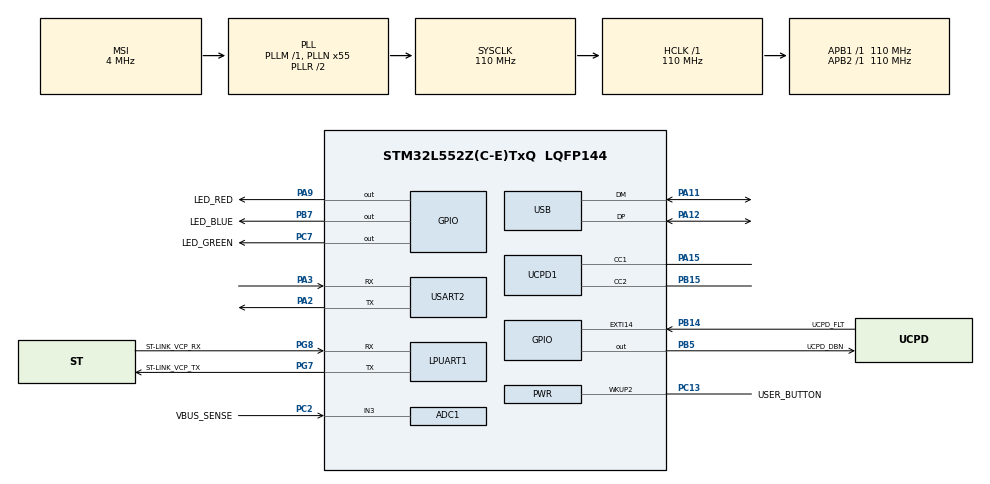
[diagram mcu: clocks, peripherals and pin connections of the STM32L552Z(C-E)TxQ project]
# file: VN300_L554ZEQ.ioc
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ADC1.Channel-0\#ChannelRegularConversion=ADC_CHANNEL_3
ADC1.NbrOfConversionFlag=1
ADC1.OffsetNumber-0\#ChannelRegularConversion=ADC_OFFSET_NONE
ADC1.Rank-0\#ChannelRegularConversion=1
ADC1.SamplingTime-0\#ChannelRegularConversion=ADC_SAMPLETIME_2CYCLES_5
ADC1.master=1
Mcu.Family=STM32L5
Mcu.Name=STM32L552Z(C-E)TxQ
Mcu.Package=LQFP144
Mcu.TrustZone=disable
NVIC.PriorityGroup=NVIC_PRIORITYGROUP_3
PA11.Mode=Device
PA11.Signal=USB_DM
PA12.Mode=Device
PA12.Signal=USB_DP
PA13\ (JTMS/SWDIO).Mode=Trace_Asynchronous_SW
PA13\ (JTMS/SWDIO).Signal=DEBUG_JTMS-SWDIO
PA14\ (JTCK/SWCLK).Mode=Trace_Asynchronous_SW
PA14\ (JTCK/SWCLK).Signal=DEBUG_JTCK-SWCLK
PA15\ (JTDI).Mode=Source_AllSignals
PA15\ (JTDI).Signal=UCPD1_CC1
PA2.Mode=Asynchronous
PA2.Signal=USART2_TX
PA3.Mode=Asynchronous
PA3.Signal=USART2_RX
PA9.GPIO_Label=LED_RED
PA9.Signal=GPIO_Output
PB14.GPIO_Label=UCPD_FLT
PB14.Signal=GPXTI14
PB15.Mode=Source_AllSignals
PB15.Signal=UCPD1_CC2
PB3\ (JTDO/TRACESWO).Mode=Trace_Asynchronous_SW
PB3\ (JTDO/TRACESWO).Signal=DEBUG_JTDO-SWO
PB5.GPIO_Label=UCPD_DBN
PB5.Signal=GPIO_Output
PB7.GPIO_Label=LED_BLUE
PB7.Signal=GPIO_Output
PC13.GPIO_Label=USER_BUTTON
PC13.Mode=WakeUp1
PC13.Signal=PWR_WKUP2
PC14-OSC32_IN\ (PC14).Mode=LSE-External-Oscillator
PC14-OSC32_IN\ (PC14).Signal=RCC_OSC32_IN
PC15-OSC32_OUT\ (PC15).Mode=LSE-External-Oscillator
PC15-OSC32_OUT\ (PC15).Signal=RCC_OSC32_OUT
PC2.GPIO_Label=VBUS_SENSE
PC2.Signal=ADCx_IN3
PC7.GPIO_Label=LED_GREEN
PC7.Signal=GPIO_Output
PG7.GPIO_Label=ST-LINK_VCP_TX
PG7.Mode=Asynchronous
PG7.Signal=LPUART1_TX
PG8.GPIO_Label=ST-LINK_VCP_RX
PG8.Mode=Asynchronous
PG8.Signal=LPUART1_RX
ProjectManager.HeapSize=0x200
ProjectManager.StackSize=0x400
ProjectManager.TargetToolchain=STM32CubeIDE
RCC.ADCCLockSelection=RCC_ADCCLKSOURCE_SYSCLK
RCC.ADCFreq_Value=110000000
RCC.AHBFreq_Value=110000000
RCC.APB1Freq_Value=110000000
RCC.APB1TimFreq_Value=110000000
RCC.APB2Freq_Value=110000000
RCC.APB2TimFreq_Value=110000000
RCC.CK48CLockSelection=RCC_USBCLKSOURCE_HSI48
RCC.CortexFreq_Value=110000000
RCC.HCLKFreq_Value=110000000
RCC.HSE_VALUE=8000000
RCC.HSI48_VALUE=48000000
RCC.HSI_VALUE=16000000
RCC.MSI_VALUE=4000000
RCC.PLLN=55
RCC.PLLSAI1N=24
RCC.RTCClockSelection=RCC_RTCCLKSOURCE_LSE
RCC.SYSCLKFreq_VALUE=110000000
RCC.SYSCLKSource=RCC_SYSCLKSOURCE_PLLCLK
RCC.USBFreq_Value=48000000
RCC.VCOOutputFreq_Value=220000000
SH.ADCx_IN3.0=ADC1_IN3,IN3-Single-Ended
USART2.VirtualMode-Asynchronous=VM_ASYNC
VP_ICACHE_VS_ICACHE.Mode=DirectMappedCache
VP_PWR_VS_DBSignals.Mode=DisableDeadBatterySignals
VP_RTC_VS_RTC_Activate.Mode=RTC_Enabled
board=NUCLEO-L552ZE-Q

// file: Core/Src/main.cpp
/* USER CODE BEGIN Header */
/**
  ******************************************************************************
  * @file           : main.c
  * @brief          : Main program body
  ******************************************************************************
  * @attention
  *
  * Copyright (c) 2022 STMicroelectronics.
  * All rights reserved.
  *
  * This software is licensed under terms that can be found in the LICENSE file
  * in the root directory of this software component.
  * If no LICENSE file comes with this software, it is provided AS-IS.
  *
  ******************************************************************************
  */
/* USER CODE END Header */
#include "main.h"

/* USER CODE BEGIN Includes */
#include "LOS_D_vn300.hpp"
#include <string.h>
#include <stdio.h>
/* USER CODE END Includes */

/* USER CODE BEGIN PD */
#define MSG_LEN 2000
/* USER CODE END PD */

ADC_HandleTypeDef hadc1;

UART_HandleTypeDef hlpuart1;
UART_HandleTypeDef huart2;

RTC_HandleTypeDef hrtc;

PCD_HandleTypeDef hpcd_USB_FS;

void SystemClock_Config(void);
static void MX_GPIO_Init(void);
static void MX_ADC1_Init(void);
static void MX_LPUART1_UART_Init(void);
static void MX_RTC_Init(void);
static void MX_UCPD1_Init(void);
static void MX_USB_PCD_Init(void);
static void MX_USART2_UART_Init(void);
static void MX_ICACHE_Init(void);

int main(void)
{

  /* MCU Configuration--------------------------------------------------------*/

  /* Reset of all peripherals, Initializes the Flash interface and the Systick. */
  HAL_Init();

  /* Configure the system clock */
  SystemClock_Config();

  /* Initialize all configured peripherals */
  MX_GPIO_Init();
  MX_ADC1_Init();
  MX_LPUART1_UART_Init();
  MX_RTC_Init();
  MX_UCPD1_Init();
  MX_USB_PCD_Init();
  MX_USART2_UART_Init();
  MX_ICACHE_Init();
  /* USER CODE BEGIN 2 */
  const char* serial_cmd = "$VNWRG,06,0*XX";
  const char* start_str = "START\r\n";
  uint16_t j = 0;
  char buffer[256];
  memset(buffer, 0, 256);
  char msg[MSG_LEN];
  memset(msg, 0, MSG_LEN);

  /* Set serial port */
  HAL_UART_Transmit(&huart2, (uint8_t*)serial_cmd, strlen(serial_cmd), 1000);
  HAL_UART_Transmit(&hlpuart1, (uint8_t*)start_str, strlen(start_str), 100);

  /* Driver Init */
  static Position *vn300obj = &VN300::getInstance();

  requestData_t requestData = {true, true};
  GPSData_t gpsData;
  IMUData_t imuData;

  PositionData_t positionData;
  positionData.req_data = requestData;
  positionData.gps_data = gpsData;
  positionData.imu_data = imuData;
  /* USER CODE END 2 */

  /* Infinite loop */
  /* USER CODE BEGIN WHILE */
  while (1)
  {
	vn300obj->GetResult(positionData);

	/* DEBUG START */
	j = 0;
	j += sprintf(msg + j, "(Pitch, Row, Yaw)=(%x, %x, %x)\r\n", positionData.imu_data.pitch, positionData.imu_data.roll, positionData.imu_data.yaw);
	HAL_UART_Transmit(&hlpuart1, (uint8_t*)msg, MSG_LEN, 100);
	/* DEBUG END */

	HAL_Delay(1000);
    /* USER CODE END WHILE */

  }
}

void SystemClock_Config(void)
{
  RCC_OscInitTypeDef RCC_OscInitStruct = {0};
  RCC_ClkInitTypeDef RCC_ClkInitStruct = {0};

  /** Configure the main internal regulator output voltage
  */
  if (HAL_PWREx_ControlVoltageScaling(PWR_REGULATOR_VOLTAGE_SCALE0) != HAL_OK)
  {
    Error_Handler();
  }

  /** Configure LSE Drive Capability
  */
  HAL_PWR_EnableBkUpAccess();
  __HAL_RCC_LSEDRIVE_CONFIG(RCC_LSEDRIVE_LOW);

  /** Initializes the RCC Oscillators according to the specified parameters
  * in the RCC_OscInitTypeDef structure.
  */
  RCC_OscInitStruct.OscillatorType = RCC_OSCILLATORTYPE_HSI48|RCC_OSCILLATORTYPE_LSE
                              |RCC_OSCILLATORTYPE_MSI;
  RCC_OscInitStruct.LSEState = RCC_LSE_ON;
  RCC_OscInitStruct.HSI48State = RCC_HSI48_ON;
  RCC_OscInitStruct.MSIState = RCC_MSI_ON;
  RCC_OscInitStruct.MSICalibrationValue = RCC_MSICALIBRATION_DEFAULT;
  RCC_OscInitStruct.MSIClockRange = RCC_MSIRANGE_6;
  RCC_OscInitStruct.PLL.PLLState = RCC_PLL_ON;
  RCC_OscInitStruct.PLL.PLLSource = RCC_PLLSOURCE_MSI;
  RCC_OscInitStruct.PLL.PLLM = 1;
  RCC_OscInitStruct.PLL.PLLN = 55;
  RCC_OscInitStruct.PLL.PLLP = RCC_PLLP_DIV7;
  RCC_OscInitStruct.PLL.PLLQ = RCC_PLLQ_DIV2;
  RCC_OscInitStruct.PLL.PLLR = RCC_PLLR_DIV2;
  if (HAL_RCC_OscConfig(&RCC_OscInitStruct) != HAL_OK)
  {
    Error_Handler();
  }

  /** Initializes the CPU, AHB and APB buses clocks
  */
  RCC_ClkInitStruct.ClockType = RCC_CLOCKTYPE_HCLK|RCC_CLOCKTYPE_SYSCLK
                              |RCC_CLOCKTYPE_PCLK1|RCC_CLOCKTYPE_PCLK2;
  RCC_ClkInitStruct.SYSCLKSource = RCC_SYSCLKSOURCE_PLLCLK;
  RCC_ClkInitStruct.AHBCLKDivider = RCC_SYSCLK_DIV1;
  RCC_ClkInitStruct.APB1CLKDivider = RCC_HCLK_DIV1;
  RCC_ClkInitStruct.APB2CLKDivider = RCC_HCLK_DIV1;

  if (HAL_RCC_ClockConfig(&RCC_ClkInitStruct, FLASH_LATENCY_5) != HAL_OK)
  {
    Error_Handler();
  }
}

static void MX_ADC1_Init(void)
{

  ADC_MultiModeTypeDef multimode = {0};
  ADC_ChannelConfTypeDef sConfig = {0};

  /** Common config
  */
  hadc1.Instance = ADC1;
  hadc1.Init.ClockPrescaler = ADC_CLOCK_ASYNC_DIV1;
  hadc1.Init.Resolution = ADC_RESOLUTION_12B;
  hadc1.Init.DataAlign = ADC_DATAALIGN_RIGHT;
  hadc1.Init.ScanConvMode = ADC_SCAN_DISABLE;
  hadc1.Init.EOCSelection = ADC_EOC_SINGLE_CONV;
  hadc1.Init.LowPowerAutoWait = DISABLE;
  hadc1.Init.ContinuousConvMode = DISABLE;
  hadc1.Init.NbrOfConversion = 1;
  hadc1.Init.DiscontinuousConvMode = DISABLE;
  hadc1.Init.ExternalTrigConv = ADC_SOFTWARE_START;
  hadc1.Init.ExternalTrigConvEdge = ADC_EXTERNALTRIGCONVEDGE_NONE;
  hadc1.Init.DMAContinuousRequests = DISABLE;
  hadc1.Init.Overrun = ADC_OVR_DATA_PRESERVED;
  hadc1.Init.OversamplingMode = DISABLE;
  if (HAL_ADC_Init(&hadc1) != HAL_OK)
  {
    Error_Handler();
  }

  /** Configure the ADC multi-mode
  */
  multimode.Mode = ADC_MODE_INDEPENDENT;
  if (HAL_ADCEx_MultiModeConfigChannel(&hadc1, &multimode) != HAL_OK)
  {
    Error_Handler();
  }

  /** Configure Regular Channel
  */
  sConfig.Channel = ADC_CHANNEL_3;
  sConfig.Rank = ADC_REGULAR_RANK_1;
  sConfig.SamplingTime = ADC_SAMPLETIME_2CYCLES_5;
  sConfig.SingleDiff = ADC_SINGLE_ENDED;
  sConfig.OffsetNumber = ADC_OFFSET_NONE;
  sConfig.Offset = 0;
  if (HAL_ADC_ConfigChannel(&hadc1, &sConfig) != HAL_OK)
  {
    Error_Handler();
  }

}

static void MX_ICACHE_Init(void)
{

  /** Enable instruction cache in 1-way (direct mapped cache)
  */
  if (HAL_ICACHE_ConfigAssociativityMode(ICACHE_1WAY) != HAL_OK)
  {
    Error_Handler();
  }
  if (HAL_ICACHE_Enable() != HAL_OK)
  {
    Error_Handler();
  }

}

static void MX_LPUART1_UART_Init(void)
{

  hlpuart1.Instance = LPUART1;
  hlpuart1.Init.BaudRate = 209700;
  hlpuart1.Init.WordLength = UART_WORDLENGTH_8B;
  hlpuart1.Init.StopBits = UART_STOPBITS_1;
  hlpuart1.Init.Parity = UART_PARITY_NONE;
  hlpuart1.Init.Mode = UART_MODE_TX_RX;
  hlpuart1.Init.HwFlowCtl = UART_HWCONTROL_NONE;
  hlpuart1.Init.OneBitSampling = UART_ONE_BIT_SAMPLE_DISABLE;
  hlpuart1.Init.ClockPrescaler = UART_PRESCALER_DIV1;
  hlpuart1.AdvancedInit.AdvFeatureInit = UART_ADVFEATURE_NO_INIT;
  hlpuart1.FifoMode = UART_FIFOMODE_DISABLE;
  if (HAL_UART_Init(&hlpuart1) != HAL_OK)
  {
    Error_Handler();
  }
  if (HAL_UARTEx_SetTxFifoThreshold(&hlpuart1, UART_TXFIFO_THRESHOLD_1_8) != HAL_OK)
  {
    Error_Handler();
  }
  if (HAL_UARTEx_SetRxFifoThreshold(&hlpuart1, UART_RXFIFO_THRESHOLD_1_8) != HAL_OK)
  {
    Error_Handler();
  }
  if (HAL_UARTEx_DisableFifoMode(&hlpuart1) != HAL_OK)
  {
    Error_Handler();
  }

}

static void MX_USART2_UART_Init(void)
{

  huart2.Instance = USART2;
  huart2.Init.BaudRate = 115200;
  huart2.Init.WordLength = UART_WORDLENGTH_8B;
  huart2.Init.StopBits = UART_STOPBITS_1;
  huart2.Init.Parity = UART_PARITY_NONE;
  huart2.Init.Mode = UART_MODE_TX_RX;
  huart2.Init.HwFlowCtl = UART_HWCONTROL_NONE;
  huart2.Init.OverSampling = UART_OVERSAMPLING_16;
  huart2.Init.OneBitSampling = UART_ONE_BIT_SAMPLE_DISABLE;
  huart2.Init.ClockPrescaler = UART_PRESCALER_DIV1;
  huart2.AdvancedInit.AdvFeatureInit = UART_ADVFEATURE_NO_INIT;
  if (HAL_UART_Init(&huart2) != HAL_OK)
  {
    Error_Handler();
  }
  if (HAL_UARTEx_SetTxFifoThreshold(&huart2, UART_TXFIFO_THRESHOLD_1_8) != HAL_OK)
  {
    Error_Handler();
  }
  if (HAL_UARTEx_SetRxFifoThreshold(&huart2, UART_RXFIFO_THRESHOLD_1_8) != HAL_OK)
  {
    Error_Handler();
  }
  if (HAL_UARTEx_DisableFifoMode(&huart2) != HAL_OK)
  {
    Error_Handler();
  }

}

static void MX_RTC_Init(void)
{

  RTC_PrivilegeStateTypeDef privilegeState = {0};

  /** Initialize RTC Only
  */
  hrtc.Instance = RTC;
  hrtc.Init.HourFormat = RTC_HOURFORMAT_24;
  hrtc.Init.AsynchPrediv = 127;
  hrtc.Init.SynchPrediv = 255;
  hrtc.Init.OutPut = RTC_OUTPUT_DISABLE;
  hrtc.Init.OutPutRemap = RTC_OUTPUT_REMAP_NONE;
  hrtc.Init.OutPutPolarity = RTC_OUTPUT_POLARITY_HIGH;
  hrtc.Init.OutPutType = RTC_OUTPUT_TYPE_OPENDRAIN;
  hrtc.Init.OutPutPullUp = RTC_OUTPUT_PULLUP_NONE;
  if (HAL_RTC_Init(&hrtc) != HAL_OK)
  {
    Error_Handler();
  }
  privilegeState.rtcPrivilegeFull = RTC_PRIVILEGE_FULL_NO;
  privilegeState.backupRegisterPrivZone = RTC_PRIVILEGE_BKUP_ZONE_NONE;
  privilegeState.backupRegisterStartZone2 = RTC_BKP_DR0;
  privilegeState.backupRegisterStartZone3 = RTC_BKP_DR0;
  if (HAL_RTCEx_PrivilegeModeSet(&hrtc, &privilegeState) != HAL_OK)
  {
    Error_Handler();
  }

}

static void MX_UCPD1_Init(void)
{

  LL_GPIO_InitTypeDef GPIO_InitStruct = {0};

  /* Peripheral clock enable */
  LL_APB1_GRP2_EnableClock(LL_APB1_GRP2_PERIPH_UCPD1);

  LL_AHB2_GRP1_EnableClock(LL_AHB2_GRP1_PERIPH_GPIOB);
  LL_AHB2_GRP1_EnableClock(LL_AHB2_GRP1_PERIPH_GPIOA);
  /**UCPD1 GPIO Configuration
  PB15   ------> UCPD1_CC2
  PA15 (JTDI)   ------> UCPD1_CC1
  */
  GPIO_InitStruct.Pin = LL_GPIO_PIN_15;
  GPIO_InitStruct.Mode = LL_GPIO_MODE_ANALOG;
  GPIO_InitStruct.Pull = LL_GPIO_PULL_NO;
  LL_GPIO_Init(GPIOB, &GPIO_InitStruct);

  GPIO_InitStruct.Pin = LL_GPIO_PIN_15;
  GPIO_InitStruct.Mode = LL_GPIO_MODE_ANALOG;
  GPIO_InitStruct.Pull = LL_GPIO_PULL_NO;
  LL_GPIO_Init(GPIOA, &GPIO_InitStruct);

}

static void MX_USB_PCD_Init(void)
{

  hpcd_USB_FS.Instance = USB;
  hpcd_USB_FS.Init.dev_endpoints = 8;
  hpcd_USB_FS.Init.speed = PCD_SPEED_FULL;
  hpcd_USB_FS.Init.phy_itface = PCD_PHY_EMBEDDED;
  hpcd_USB_FS.Init.Sof_enable = DISABLE;
  hpcd_USB_FS.Init.low_power_enable = DISABLE;
  hpcd_USB_FS.Init.lpm_enable = DISABLE;
  hpcd_USB_FS.Init.battery_charging_enable = DISABLE;
  if (HAL_PCD_Init(&hpcd_USB_FS) != HAL_OK)
  {
    Error_Handler();
  }

}

static void MX_GPIO_Init(void)
{
  GPIO_InitTypeDef GPIO_InitStruct = {0};

  /* GPIO Ports Clock Enable */
  __HAL_RCC_GPIOC_CLK_ENABLE();
  __HAL_RCC_GPIOA_CLK_ENABLE();
  __HAL_RCC_GPIOB_CLK_ENABLE();
  __HAL_RCC_GPIOG_CLK_ENABLE();
  HAL_PWREx_EnableVddIO2();

  /*Configure GPIO pin Output Level */
  HAL_GPIO_WritePin(LED_GREEN_GPIO_Port, LED_GREEN_Pin, GPIO_PIN_RESET);

  /*Configure GPIO pin Output Level */
  HAL_GPIO_WritePin(LED_RED_GPIO_Port, LED_RED_Pin, GPIO_PIN_RESET);

  /*Configure GPIO pin Output Level */
  HAL_GPIO_WritePin(GPIOB, UCPD_DBN_Pin|LED_BLUE_Pin, GPIO_PIN_RESET);

  /*Configure GPIO pin : UCPD_FLT_Pin */
  GPIO_InitStruct.Pin = UCPD_FLT_Pin;
  GPIO_InitStruct.Mode = GPIO_MODE_IT_RISING;
  GPIO_InitStruct.Pull = GPIO_NOPULL;
  HAL_GPIO_Init(UCPD_FLT_GPIO_Port, &GPIO_InitStruct);

  /*Configure GPIO pin : LED_GREEN_Pin */
  GPIO_InitStruct.Pin = LED_GREEN_Pin;
  GPIO_InitStruct.Mode = GPIO_MODE_OUTPUT_PP;
  GPIO_InitStruct.Pull = GPIO_NOPULL;
  GPIO_InitStruct.Speed = GPIO_SPEED_FREQ_LOW;
  HAL_GPIO_Init(LED_GREEN_GPIO_Port, &GPIO_InitStruct);

  /*Configure GPIO pin : LED_RED_Pin */
  GPIO_InitStruct.Pin = LED_RED_Pin;
  GPIO_InitStruct.Mode = GPIO_MODE_OUTPUT_PP;
  GPIO_InitStruct.Pull = GPIO_NOPULL;
  GPIO_InitStruct.Speed = GPIO_SPEED_FREQ_LOW;
  HAL_GPIO_Init(LED_RED_GPIO_Port, &GPIO_InitStruct);

  /*Configure GPIO pins : UCPD_DBN_Pin LED_BLUE_Pin */
  GPIO_InitStruct.Pin = UCPD_DBN_Pin|LED_BLUE_Pin;
  GPIO_InitStruct.Mode = GPIO_MODE_OUTPUT_PP;
  GPIO_InitStruct.Pull = GPIO_NOPULL;
  GPIO_InitStruct.Speed = GPIO_SPEED_FREQ_LOW;
  HAL_GPIO_Init(GPIOB, &GPIO_InitStruct);

}

void Error_Handler(void)
{
  __disable_irq();
  while (1)
  {
  }
}
